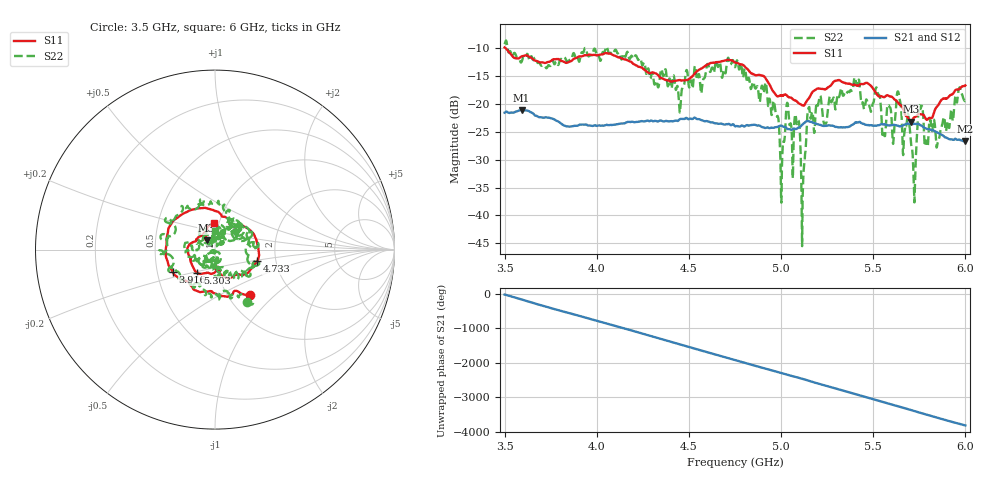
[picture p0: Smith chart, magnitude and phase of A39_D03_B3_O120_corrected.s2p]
! Created with skrf 1.9.0 (http://scikit-rf.org).
# Hz S RI R 50.0
!freq ReS11 ImS11 ReS21 ImS21 ReS12 ImS12 ReS22 ImS22
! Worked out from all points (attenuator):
!   1601 points, 3.5 GHz to 6 GHz, reference 50 ohm
!   highest |S21| = -21.12 dB at 3.592 GHz (marker M1); lowest = -26.7 dB at 5.997 GHz (marker M2)
!   lowest |S11| = -23.2 dB at 5.705 GHz (marker M3), VSWR 1.15, Z = 45.3 + j4.65 ohm
!   |S11| at or under -10 dB: 3.505 GHz to end of sweep
!   |S22| runs from -45.5 to -8.6 dB; largest |S21 - S12| = 0.00095
!   S11 on the Smith chart (normalised r, x): 3.5 GHz: 1.26, -0.71; 3.916 GHz: 0.60, -0.16; 4.733 GHz: 1.60, -0.21; 5.303 GHz: 0.80, -0.21; 6 GHz: 0.94, +0.28
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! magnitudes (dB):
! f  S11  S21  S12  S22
! 3.5 GHz  -9.9  -21.6  -21.6  -9.3
! 3.592 GHz  -11.5  -21.1  -21.1  -12.5
! 3.916 GHz  -11.5  -23.7  -23.7  -11.0
! 3.917 GHz  -11.5  -23.7  -23.7  -10.8
! 4.334 GHz  -14.9  -23.2  -23.1  -17.0
! 4.733 GHz  -12.2  -23.8  -23.7  -12.5
! 4.75 GHz  -12.6  -24.0  -23.9  -13.4
! 4.969 GHz  -18.3  -24.2  -24.2  -21.2
! 5.005 GHz  -18.5  -23.9  -23.9  -31.3
! 5.033 GHz  -18.5  -24.5  -24.4  -19.8
! 5.086 GHz  -19.6  -24.4  -24.4  -23.6
! 5.119 GHz  -20.3  -23.6  -23.5  -34.6
! 5.145 GHz  -19.2  -23.1  -23.0  -21.2
! 5.167 GHz  -18.0  -23.3  -23.2  -21.5
! 5.303 GHz  -15.8  -24.1  -24.1  -19.0
! 5.584 GHz  -18.6  -23.8  -23.8  -20.2
! 5.705 GHz  -23.2  -23.6  -23.6  -27.0
! 5.722 GHz  -22.4  -23.6  -23.5  -36.5
! 5.756 GHz  -21.9  -23.8  -23.8  -20.9
! 5.852 GHz  -20.3  -25.2  -25.1  -26.8
! 5.997 GHz  -16.8  -26.7  -26.7  -19.5
! 6 GHz  -16.7  -26.7  -26.7  -19.5
